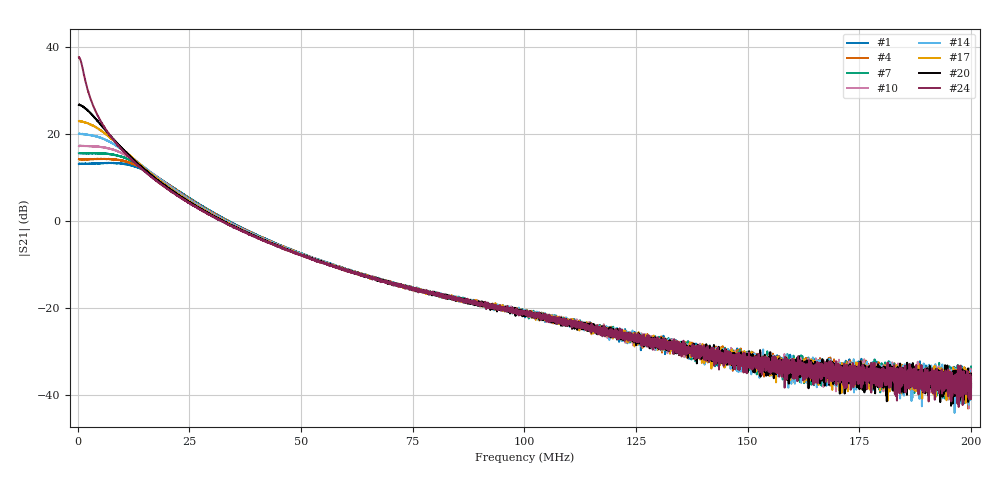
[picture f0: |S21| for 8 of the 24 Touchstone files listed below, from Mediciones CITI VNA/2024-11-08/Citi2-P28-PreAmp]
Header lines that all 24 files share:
# Hz S DB R 50
! CMT, M5065, 19127446, 24.2.4/2
! Data: Format (Calibration Info)
! Freq	S11:dB/Ang(F2)	S21:dB/Ang(F2)	S12:dB/Ang(F2)	S22:dB/Ang(F2)
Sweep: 300 kHz to 200 MHz
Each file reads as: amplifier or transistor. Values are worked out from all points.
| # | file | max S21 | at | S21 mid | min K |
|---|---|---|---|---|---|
| 1 | ganancia_40.s2p | 13.3 dB | 7.668 MHz | -21.2 dB at 100.2 MHz | 4.42 |
| 2 | ganancia_41.s2p | 13.7 dB | 6.78 MHz | -21.6 dB at 100.2 MHz | 3.49 |
| 3 | ganancia_42.s2p | 14.0 dB | 6.003 MHz | -21.3 dB at 100.2 MHz | 2.65 |
| 4 | ganancia_43.s2p | 14.3 dB | 4.361 MHz | -21.2 dB at 100.2 MHz | 2.84 |
| 5 | ganancia_44.s2p | 14.8 dB | 5.249 MHz | -20.8 dB at 100.2 MHz | 2.09 |
| 6 | ganancia_45.s2p | 15.2 dB | 4.805 MHz | -21.4 dB at 100.2 MHz | 2.35 |
| 7 | ganancia_46.s2p | 15.6 dB | 677.3 kHz | -21.6 dB at 100.2 MHz | 2.58 |
| 8 | ganancia_47.s2p | 16.0 dB | 388.8 kHz | -21.0 dB at 100.2 MHz | 2.20 |
| 9 | ganancia_48.s2p | 16.8 dB | 655.1 kHz | -21.5 dB at 100.2 MHz | 2.01 |
| 10 | ganancia_49.s2p | 17.3 dB | 699.4 kHz | -20.8 dB at 100.2 MHz | 2.29 |
| 11 | ganancia_50.s2p | 17.9 dB | 388.8 kHz | -20.6 dB at 100.2 MHz | 1.34 |
| 12 | ganancia_51.s2p | 18.4 dB | 1.077 MHz | -20.7 dB at 100.2 MHz | 1.68 |
| 13 | ganancia_52.s2p | 19.4 dB | 588.5 kHz | -21.4 dB at 100.2 MHz | 1.48 |
| 14 | ganancia_53.s2p | 20.1 dB | 388.8 kHz | -20.9 dB at 100.2 MHz | 1.14 |
| 15 | ganancia_54.s2p | 21.1 dB | 388.8 kHz | -21.5 dB at 100.2 MHz | 1.55 |
| 16 | ganancia_55.s2p | 21.6 dB | 433.1 kHz | -20.3 dB at 100.2 MHz | 1.16 |
| 17 | ganancia_56.s2p | 23.0 dB | 388.8 kHz | -21.8 dB at 100.2 MHz | 1.18 |
| 18 | ganancia_57.s2p | 24.0 dB | 433.1 kHz | -20.9 dB at 100.2 MHz | 1.40 |
| 19 | ganancia_58.s2p | 25.3 dB | 344.4 kHz | -21.1 dB at 100.2 MHz | 1.20 |
| 20 | ganancia_59.s2p | 26.7 dB | 388.8 kHz | -21.1 dB at 100.2 MHz | 0.95 |
| 21 | ganancia_60.s2p | 29.3 dB | 388.8 kHz | -21.1 dB at 100.2 MHz | 0.93 |
| 22 | ganancia_61.s2p | 32.0 dB | 388.8 kHz | -20.9 dB at 100.2 MHz | 0.76 |
| 23 | ganancia_62.s2p | 34.9 dB | 388.8 kHz | -21.0 dB at 100.2 MHz | 0.83 |
| 24 | ganancia_63.s2p | 37.5 dB | 322.2 kHz | -21.4 dB at 100.2 MHz | 0.30 |
